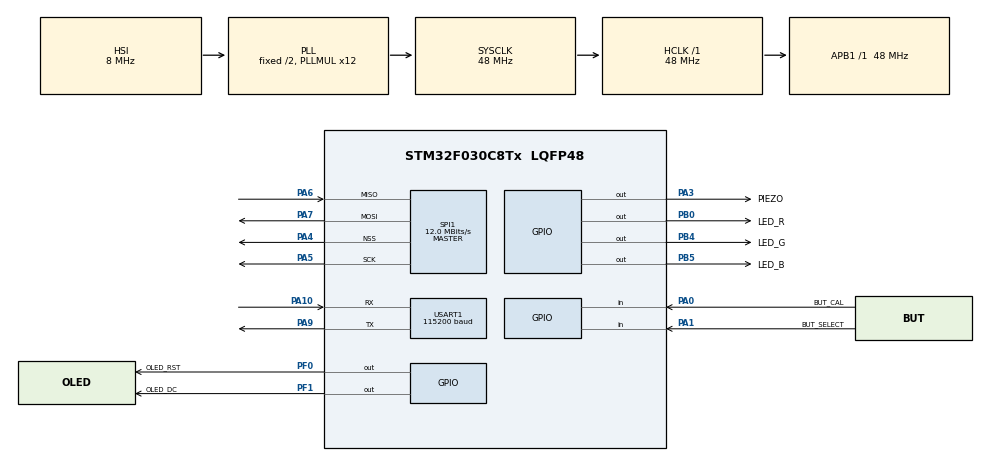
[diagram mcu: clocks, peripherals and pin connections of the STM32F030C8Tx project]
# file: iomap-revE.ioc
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Mcu.Family=STM32F0
PA6.Mode=Full_Duplex_Master
PA7.Mode=Full_Duplex_Master
PA10.Mode=Asynchronous
SPI1.VirtualType=VM_MASTER
USART1.BaudRate=115200
USART1.RxPinLevelInvertParam=ADVFEATURE_RXINV_DISABLE
USART1.WordLength=WORDLENGTH_8B
PA3.GPIO_PuPd=GPIO_PULLDOWN
PA0.GPIO_Label=BUT_CAL
VP_RTC_VS_RTC_Activate.Mode=RTC_Enabled
PB0.GPIO_Label=LED_R
SPI1.CLKPhase=SPI_PHASE_1EDGE
PF0-OSC_IN.PinState=GPIO_PIN_SET
SPI1.TIMode=SPI_TIMODE_DISABLE
RCC.SYSCLKSource=RCC_SYSCLKSOURCE_PLLCLK
ProjectManager.StackSize=0x400
USART1.VirtualMode-Asynchronous=VM_ASYNC
PA13.Signal=SYS_SWDIO
PA9.Mode=Asynchronous
SPI1.CLKPolarity=SPI_POLARITY_LOW
USART1.StopBits=STOPBITS_1
USART1.TxPinLevelInvertParam=ADVFEATURE_TXINV_DISABLE
PA4.Mode=NSS_Signal_Hard_Output
ProjectManager.TargetToolchain=Makefile
PF0-OSC_IN.GPIO_PuPd=GPIO_PULLUP
SPI1.Direction=SPI_DIRECTION_2LINES
RCC.HCLKFreq_Value=48000000
USART1.DataInvertParam=ADVFEATURE_DATAINV_DISABLE
RCC.FLatency=FLASH_LATENCY_1
PF1-OSC_OUT.GPIO_PuPd=GPIO_PULLUP
PA9.Signal=USART1_TX
USART1.Parity=PARITY_NONE
SPI1.CalculateBaudRate=12.0 MBits/s
PB4.GPIO_PuPd=GPIO_PULLDOWN
PA1.GPIO_PuPd=GPIO_PULLUP
PA1.Signal=GPIO_Input
RCC.AHBFreq_Value=48000000
PA5.Signal=SPI1_SCK
PF0-OSC_IN.GPIO_Label=OLED_RST
board=custom
RCC.PLLMUL=RCC_PLL_MUL12
NVIC.SPI1_IRQn=true\:0\:0\:false\:false\:true\:true\:true
SPI1.CRCCalculation=SPI_CRCCALCULATION_DISABLE
PB4.GPIO_Label=LED_G
USART1.Mode=MODE_TX_RX
SPI1.Mode=SPI_MODE_MASTER
PA14.Mode=Serial_Wire
USART1.OverrunDisableParam=ADVFEATURE_OVERRUN_ENABLE
SPI1.DataSize=SPI_DATASIZE_8BIT
PF1-OSC_OUT.GPIO_Label=OLED_DC
PA1.GPIO_Label=BUT_SELECT
SPI1.VirtualNSS=VM_NSSHARD
SPI1.FirstBit=SPI_FIRSTBIT_MSB
PA13.Mode=Serial_Wire
Mcu.Name=STM32F030C8Tx
SPI1.NSSPMode=SPI_NSS_PULSE_ENABLE
PA0.Signal=GPIO_Input
PA4.Signal=SPI1_NSS
RCC.SYSCLKFreq_VALUE=48000000
Mcu.Package=LQFP48
PB5.Signal=GPIO_Output
USART1.OverSampling=UART_OVERSAMPLING_16
PA6.Signal=SPI1_MISO
USART1.AutoBaudRateEnableParam=UART_ADVFEATURE_AUTOBAUDRATE_DISABLE
PB5.GPIO_PuPd=GPIO_PULLDOWN
PA0.GPIO_PuPd=GPIO_PULLUP
USART1.MSBFirstParam=ADVFEATURE_MSBFIRST_DISABLE
PA10.Signal=USART1_RX
PA14.Signal=SYS_SWCLK
ProjectManager.HeapSize=0x200
USART1.DMADisableonRxErrorParam=ADVFEATURE_DMA_ENABLEONRXERROR
PB5.GPIO_Label=LED_B
RCC.APB1TimFreq_Value=48000000
PF0-OSC_IN.Signal=GPIO_Output
USART1.OneBitSampling=UART_ONE_BIT_SAMPLE_DISABLE
NVIC.USART1_IRQn=true\:0\:0\:false\:false\:true\:true\:true
RCC.APB1Freq_Value=48000000
SPI1.BaudRatePrescaler=SPI_BAUDRATEPRESCALER_4
PB0.Signal=GPIO_Output
USART1.SwapParam=ADVFEATURE_SWAP_DISABLE
PF1-OSC_OUT.Signal=GPIO_Output
PB0.GPIO_PuPd=GPIO_PULLDOWN
PB4.Signal=GPIO_Output
PA3.GPIO_Label=PIEZO
PA3.Signal=GPIO_Output
PA5.Mode=Full_Duplex_Master
PF1-OSC_OUT.PinState=GPIO_PIN_SET
PA7.Signal=SPI1_MOSI

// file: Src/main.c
/* USER CODE BEGIN Header */
/**
  ******************************************************************************
  * @file           : main.c
  * @brief          : Main program body
  ******************************************************************************
  * @attention
  *
  * <h2><center>&copy; Copyright (c) 2020 STMicroelectronics.
  * All rights reserved.</center></h2>
  *
  * This software component is licensed by ST under BSD 3-Clause license,
  * the "License"; You may not use this file except in compliance with the
  * License. You may obtain a copy of the License at:
  *                        opensource.org/licenses/BSD-3-Clause
  *
  ******************************************************************************
  */
/* USER CODE END Header */

#include "main.h"
#include "rtc.h"
#include "spi.h"
#include "usart.h"
#include "gpio.h"

/* USER CODE BEGIN Includes */

#include <math.h>
#include <stdio.h>

#include "EMA_crush.h"
#include "statemachine.h"
#include "keyscan.h"
#include "button.h"
#include "ssd1306.h"
#include "crc16_modbus.h"

/* USER CODE END Includes */

void SystemClock_Config(void);

/* USER CODE BEGIN 0 */

#ifdef _MSC_VER
    #pragma pack(push)
    #pragma pack(1)
    #define PACKED
#elif __GNUC__
    #define PACKED __attribute__((__packed__))
#else
    #error packed structs not implemented
#endif
typedef struct {
    uint16_t SOF; // 0x5555
    uint8_t version; // 0
    uint8_t type; // Packet type: 0
    uint16_t vfb; // ADC value
    uint32_t airflow; // Airflow, 1/100s of l/m
    uint32_t pressure; // Pressure, pascals (1/100s of mbar)
    uint32_t temperature; // Temperature, 1/100s of C
    uint16_t crc; // TODO
} PACKED message_packet_t;
long unsigned int gpktcount=0;
long unsigned int gpktlasttimeticks=0;
long unsigned int gpktlatency=0;
#define kbuttoncount 2
#define kbutton_sel 0
#define kbutton_cal 1
keyscan_t buttonstates[ kbuttoncount];

void button_keyscan_init() {
	for (int i=0; i< kbuttoncount; i++) { keyscan_init(&buttonstates[i]); }
}
void button_keyscan_scan() {
	uint32 ticks = HAL_GetTick();
	keyscan(ticks,&buttonstates[kbutton_sel], ((GPIOA->IDR & 0x01) == 0) );
	keyscan(ticks,&buttonstates[kbutton_cal], ((GPIOA->IDR & 0x02) == 0) );
}

#ifdef _MSC_VER
    #pragma pack(pop)
#endif

float vfb = 0;
float temperature = 0;
float pressure = 0;
float airflow = 0;

void handle_byte(char data) {
    static char buf[30];  // must be >= sizeof(message_packet_t)
    static int pos = 0;

    switch(pos) {
        case 0: // SOF 1
            if(data == 0x55)
                buf[pos++] = data;
            else {
//                qDebug() << "SOF1 error";
                pos = 0;
            }
        break;
    case 1: // SOF 2
        if(data == 0x55)
            buf[pos++] = data;
        else {
//            qDebug() << "SOF2 error";
            pos = 0;
        }
        break;
    case 2: // version
        if(data == 0)
            buf[pos++] = data;
        else {
//            qDebug() << "Version error";
            pos = 0;
        }
        break;
    case 3: // packet type
        if(data == 0)
            buf[pos++] = data;
        else {
//            qDebug() << "Packet type error";
            pos = 0;
        }
        break;
    default:
        buf[pos++] = data;

        // Note: Packet type set in packet[3], but we only handle one type.
        if(pos == sizeof(message_packet_t)) {

            message_packet_t *packet = (message_packet_t*)buf;

            const uint16_t crc_received = packet->crc;
            packet->crc = 0;
            const uint16_t crc_calculated = crc16_modbus((uint8_t*)buf, sizeof(message_packet_t));

            if(crc_received != crc_calculated) {
//                qDebug() << "Bad CRC, got:" << crc_received << " expected:" << crc_calculated;
                pos = 0;
            }
            else {
		vfb = packet->vfb / 1000.0; // Voltage is in mv
                temperature = packet->temperature / 100.0; // temperature is in 1/100s of a C
                pressure = packet->pressure / 100.0; // pressure is pascals (1/100s of mbar)
                airflow = packet->airflow / 100.0; // Airflow is in 1/100s of l/m
                gpktcount ++;
                //EMA_crush((HAL_GetTick() - gpktlasttimeticks ) , gpktlatency, 5);
                gpktlatency = HAL_GetTick() - gpktlasttimeticks;
                gpktlasttimeticks = HAL_GetTick();

                pos = 0;
            }
        }
        else if(pos > sizeof(message_packet_t)) {
//            qDebug() << "oversize error";
            pos = 0;
        }

        break;
    }
}

/* USER CODE END 0 */

RTC_TimeTypeDef gtime;
void clockinit () {
  gtime.Hours = 6;
  gtime.Minutes = 66;
  gtime.Seconds = 6;
  gtime.TimeFormat = RTC_HOURFORMAT12_PM;
  gtime.DayLightSaving = RTC_DAYLIGHTSAVING_NONE;
  gtime.StoreOperation = RTC_STOREOPERATION_RESET;
  if (HAL_RTC_SetTime(&hrtc, &gtime, RTC_FORMAT_BIN) != HAL_OK)
  {
    Error_Handler();
  }

}
void clockstuffage () {

    char buf[23];
    button_keyscan_scan();
    uint32 ticks=HAL_GetTick();
    snprintf(buf, sizeof(buf), "sel:%i, cal:%i hz:%lu", keyscan_duration(ticks,&buttonstates[kbutton_sel]),keyscan_duration(ticks,&buttonstates[kbutton_cal]),  gpktlatency);
    ssd1306_SetCursor(2, 48);
    ssd1306_WriteString(buf, Font_6x8, White);
}
int main(void)
{
  /* USER CODE BEGIN 1 */

  char input;

  /* USER CODE END 1 */

  /* MCU Configuration--------------------------------------------------------*/

  /* Reset of all peripherals, Initializes the Flash interface and the Systick. */
  HAL_Init();

  /* Configure the system clock */
  SystemClock_Config();

  /* Initialize all configured peripherals */
  MX_GPIO_Init();
  MX_SPI1_Init();
  MX_USART1_UART_Init();
  MX_RTC_Init();
  /* USER CODE BEGIN 2 */

  LL_USART_EnableIT_RXNE (USART1);

  /* USER CODE END 2 */

  /* Infinite loop */
  /* USER CODE BEGIN WHILE */

  //init();
  ssd1306_Init();
  ssd1306_SetCursor(2, 0);
//  HAL_Delay(1000);
  ssd1306_WriteString("Hello", Font_11x18, White);
  ssd1306_UpdateScreen();
  clockinit();
  button_keyscan_init ();

//  HAL_UART_RegisterCallback(&huart1, HAL_UART_RX_COMPLETE_CB_ID, HAL_UART_RxCpltCallback);
//  HAL_UART_Receive_IT(&huart1, rx_buf, sizeof(rx_buf));

  while (1)
  {
//    HAL_UART_Transmit(&huart1, msg, sizeof(msg), 100);

    /* USER CODE END WHILE */

    /* USER CODE BEGIN 3 */

    input = get_key(); // read pushbuttons

    switch(input) {
    case KEY_SELECT:
    {
        // Cycle LED colors
        static int led_mode = 0;
        switch(led_mode) {
        case 0:
            GPIOB -> ODR &= ~LED_B_Pin;
            GPIOB -> ODR |= LED_R_Pin;
            break;
        case 1:
            GPIOB -> ODR &= ~LED_R_Pin;
            GPIOB -> ODR |= LED_G_Pin;
            break;
        case 2:
            GPIOB -> ODR &= ~LED_G_Pin;
            GPIOB -> ODR |= LED_B_Pin;
            break;
        case 3:
            GPIOB -> ODR |= LED_R_Pin;
            GPIOB -> ODR |= LED_G_Pin;
            GPIOB -> ODR |= LED_B_Pin;
            break;
        case 4:
            GPIOB -> ODR &= ~LED_R_Pin;
            GPIOB -> ODR &= ~LED_G_Pin;
            GPIOB -> ODR &= ~LED_B_Pin;
            break;
        }
        led_mode = (led_mode + 1) % 5;
    }
        break;
    case KEY_CAL:
    {
        // Buzzzzz
        for(unsigned long i = 0; i < 120; i++) {
            GPIOA -> ODR ^= PIEZO_Pin;
            HAL_Delay(1);
        }
        GPIOA -> ODR &= ~PIEZO_Pin;
    }
        break;
    }

//    char Rx_data[100];
//    const int received = HAL_UART_Receive (&huart1, &Rx_data, sizeof(Rx_data), 99999);

    // Update display
    ssd1306_Fill(Black);

    char buf[20];

    snprintf(buf, sizeof(buf), "Vfb:%1.3fV", vfb);
    ssd1306_SetCursor(2, 0);
    ssd1306_WriteString(buf, Font_7x10, White);

    snprintf(buf, sizeof(buf), "F:%1.1fl/m", airflow);
    ssd1306_SetCursor(2, 12);
    ssd1306_WriteString(buf, Font_7x10, White);

    snprintf(buf, sizeof(buf), "T:%1.1fC", temperature);
    ssd1306_SetCursor(2, 24);
    ssd1306_WriteString(buf, Font_7x10, White);

    snprintf(buf, sizeof(buf), "P:%1.3fmbar", pressure);
    ssd1306_SetCursor(2, 36);
    ssd1306_WriteString(buf, Font_7x10, White);

    snprintf(buf, sizeof(buf), "T:%1.3fmbar", pressure);
    ssd1306_SetCursor(2, 36);
    ssd1306_WriteString(buf, Font_7x10, White);
    clockstuffage ();

    ssd1306_UpdateScreen();
  }
  /* USER CODE END 3 */
}

void SystemClock_Config(void)
{
  RCC_OscInitTypeDef RCC_OscInitStruct = {0};
  RCC_ClkInitTypeDef RCC_ClkInitStruct = {0};
  RCC_PeriphCLKInitTypeDef PeriphClkInit = {0};

  /** Initializes the CPU, AHB and APB busses clocks
  */
  RCC_OscInitStruct.OscillatorType = RCC_OSCILLATORTYPE_HSI|RCC_OSCILLATORTYPE_LSI;
  RCC_OscInitStruct.HSIState = RCC_HSI_ON;
  RCC_OscInitStruct.HSICalibrationValue = RCC_HSICALIBRATION_DEFAULT;
  RCC_OscInitStruct.LSIState = RCC_LSI_ON;
  RCC_OscInitStruct.PLL.PLLState = RCC_PLL_ON;
  RCC_OscInitStruct.PLL.PLLSource = RCC_PLLSOURCE_HSI;
  RCC_OscInitStruct.PLL.PLLMUL = RCC_PLL_MUL12;
  RCC_OscInitStruct.PLL.PREDIV = RCC_PREDIV_DIV1;
  if (HAL_RCC_OscConfig(&RCC_OscInitStruct) != HAL_OK)
  {
    Error_Handler();
  }
  /** Initializes the CPU, AHB and APB busses clocks
  */
  RCC_ClkInitStruct.ClockType = RCC_CLOCKTYPE_HCLK|RCC_CLOCKTYPE_SYSCLK
                              |RCC_CLOCKTYPE_PCLK1;
  RCC_ClkInitStruct.SYSCLKSource = RCC_SYSCLKSOURCE_PLLCLK;
  RCC_ClkInitStruct.AHBCLKDivider = RCC_SYSCLK_DIV1;
  RCC_ClkInitStruct.APB1CLKDivider = RCC_HCLK_DIV1;

  if (HAL_RCC_ClockConfig(&RCC_ClkInitStruct, FLASH_LATENCY_1) != HAL_OK)
  {
    Error_Handler();
  }
  PeriphClkInit.PeriphClockSelection = RCC_PERIPHCLK_USART1|RCC_PERIPHCLK_RTC;
  PeriphClkInit.Usart1ClockSelection = RCC_USART1CLKSOURCE_PCLK1;
  PeriphClkInit.RTCClockSelection = RCC_RTCCLKSOURCE_LSI;
  if (HAL_RCCEx_PeriphCLKConfig(&PeriphClkInit) != HAL_OK)
  {
    Error_Handler();
  }
}

void Error_Handler(void)
{
}

/************************ (C) COPYRIGHT STMicroelectronics *****END OF FILE****/
